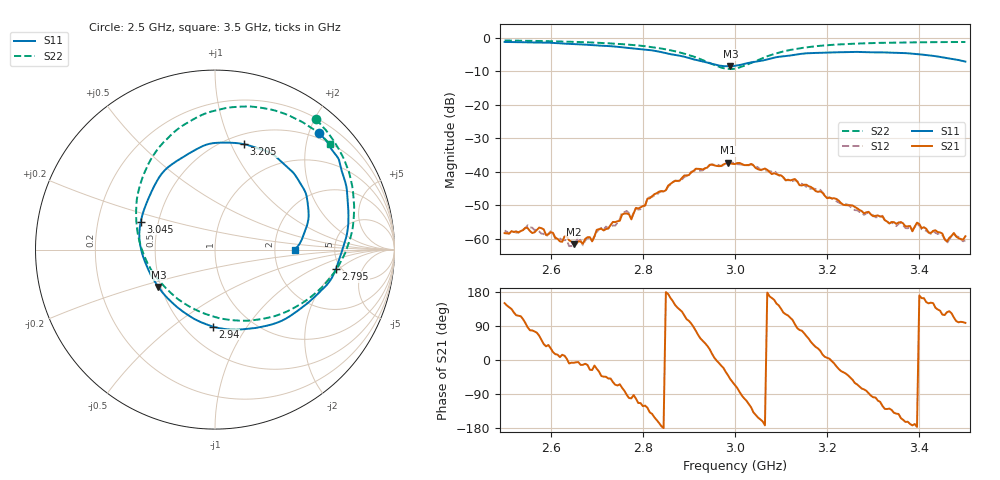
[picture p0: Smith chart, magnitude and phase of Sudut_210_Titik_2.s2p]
# Hz S RI R 50
! CMT, C1220, 16058040, 17.2.0/1
! Date: 15/08/2018 10:51:10
! Data: Format (Calibration Info)
! Freq  S11: Re/Im (F2)  S21: Re/Im (F2)  S12: Re/Im (F2)  S22: Re/Im (F2)
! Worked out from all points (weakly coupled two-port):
!   201 points, 2.5 GHz to 3.5 GHz, reference 50 ohm
!   highest |S21| = -37.25 dB at 2.985 GHz (marker M1); lowest = -61.6 dB at 2.65 GHz (marker M2)
!   lowest |S11| = -8.5 dB at 2.99 GHz (marker M3), VSWR 2.21, Z = 24.2 - j11.7 ohm
!   |S11| at or under -10 dB: nowhere
!   |S22| runs from -9.3 to -0.7 dB; largest |S21 - S12| = 0.00096
!   S11 on the Smith chart (normalised r, x): 2.5 GHz: 0.40, +2.17; 2.795 GHz: 4.55, -1.82; 2.94 GHz: 0.67, -0.71; 3.045 GHz: 0.40, +0.15; 3.205 GHz: 0.60, +1.12; 3.5 GHz: 2.60, -0.00
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2.5e9  0.5807 0.6505  -0.00106 0.000609  -0.00114 0.000686  0.562 0.7261
2.575e9  0.673 0.5283  0.000644 0.00133  0.000769 0.00104  0.6449 0.63
2.65e9  0.7317 0.3519  0.00082 -0.000106  0.000826 2e-05  0.7204 0.4997
2.66e9  0.7344 0.334  0.00092 -8.84e-05  0.00106 -0.000147  0.7285 0.4778
2.67e9  0.7363 0.3122  0.000824 -0.000187  0.000778 -0.000198  0.7373 0.4562
2.755e9  0.7239 0.0447  0.000661 -0.00222  0.000838 -0.00238  0.7752 0.2298
2.775e9  0.7022 -0.0236  -0.000381 -0.00192  -0.000419 -0.00203  0.7719 0.1629
2.795e9  0.6745 -0.1065  -0.00119 -0.00271  -0.0012 -0.00251  0.7613 0.0919
2.835e9  0.5775 -0.2424  -0.00492 -0.00124  -0.00474 -0.00136  0.7016 -0.0657
2.94e9  -0.0133 -0.4286  0.00928 0.00704  0.00909 0.00724  0.1871 -0.3961
2.985e9  -0.2933 -0.2381  0.0104 -0.00895  0.0109 -0.00859  -0.1707 -0.3002
2.99e9  -0.3154 -0.2075  0.00841 -0.0104  0.00904 -0.0107  -0.2073 -0.2752
3e9  -0.3565 -0.1436  0.00536 -0.012  0.00473 -0.0123  -0.273 -0.2154
3.045e9  -0.4138 0.1555  -0.00937 -0.00655  -0.00976 -0.00711  -0.4357 0.1276
3.17e9  0.0276 0.5958  0.00427 0.00364  0.00405 0.00394  -0.0923 0.7411
3.205e9  0.1612 0.5871  0.00412 0.000237  0.00418 -8.54e-05  0.0361 0.7833
3.335e9  0.4659 0.3849  -0.00105 -0.00134  -0.00114 -0.00129  0.3899 0.7562
3.385e9  0.5138 0.2757  -0.00129 -0.000169  -0.00136 -0.000184  0.4838 0.7123
3.395e9  0.5174 0.2497  -0.00175 -0.000107  -0.00169 3.19e-05  0.4993 0.7031
3.46e9  0.4936 0.0815  -0.00054 0.000739  -0.000481 0.000716  0.5957 0.6332
3.475e9  0.4791 0.0468  -0.000464 0.00114  -0.000451 0.00109  0.6133 0.6159
3.5e9  0.444 -0.000603  -0.000153 0.00109  -0.000104 0.000943  0.6429 0.5861
